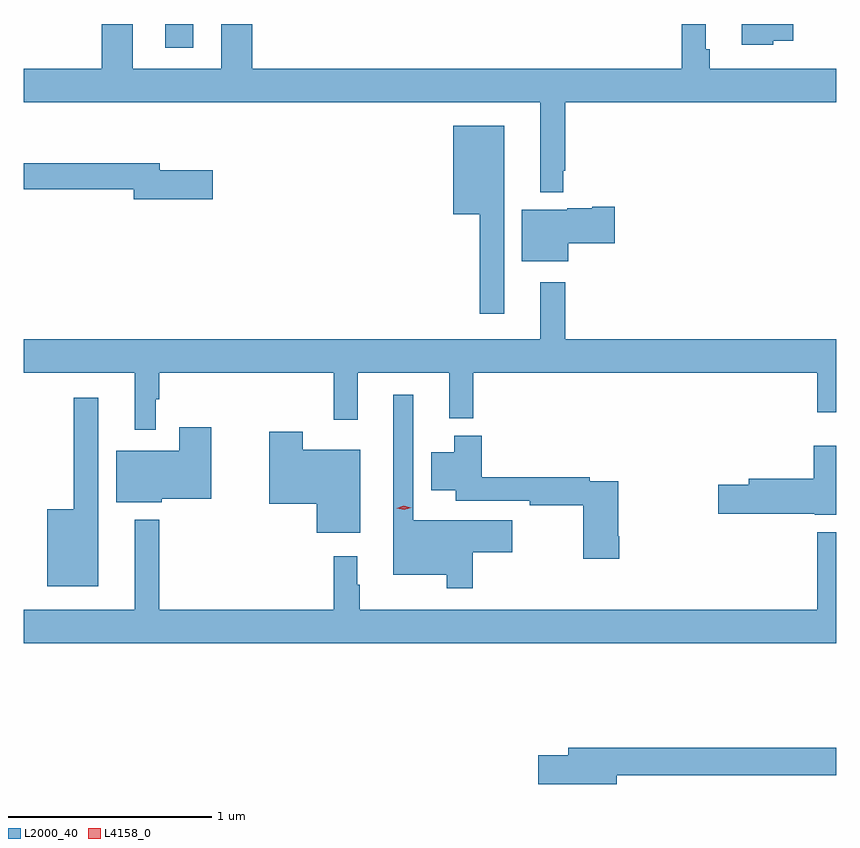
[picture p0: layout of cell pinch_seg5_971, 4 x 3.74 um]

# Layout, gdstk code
import gdstk
lib = gdstk.Library(unit=1e-6, precision=1e-09)
def R(c, l, rs):  # rectangles x0, y0, x1, y1
    for r in rs: c.add(gdstk.rectangle(r[:2], r[2:], *l))
def P(c, l, *ps):  # polygons
    for p in ps: c.add(gdstk.Polygon(p, *l))
L2000_40 = (2000, 40)
L4158_0 = (4158, 0)

pinch_seg5_971 = lib.new_cell('pinch_seg5_971')
R(pinch_seg5_971, L2000_40, [(742.697,882.336,742.837,882.453)])
P(pinch_seg5_971, L2000_40, [(744.659,881.731),(744.667,881.731),(744.667,882.068),(746.002,882.068),(746.002,882.232),(745.379,882.232),(745.379,882.328),(745.36,882.328),(745.36,882.453),(745.243,882.453),(745.243,882.232),(743.126,882.232),(743.126,882.453),(742.973,882.453),(742.973,882.232),(742.537,882.232),(742.537,882.453),(742.385,882.453),(742.385,882.232),(742.002,882.232),(742.002,882.068),(744.545,882.068),(744.545,881.624),(744.659,881.624)],
  [(745.692,882.371),(745.792,882.371),(745.792,882.453),(745.538,882.453),(745.538,882.35),(745.692,882.35)],
  [(744.367,881.953),(744.116,881.953),(744.116,881.516),(744.246,881.516),(744.246,881.025),(744.367,881.025)],
  [(742.933,881.733),(742.672,881.733),(742.672,881.767),(742.002,881.767),(742.002,881.638),(742.544,881.638),(742.544,881.591),(742.933,881.591)],
  [(744.682,881.374),(744.913,881.374),(744.913,881.552),(744.8,881.552),(744.8,881.545),(744.678,881.545),(744.678,881.539),(744.455,881.539),(744.455,881.285),(744.682,881.285)],
  [(742.651,880.604),(742.669,880.604),(742.669,880.736),(743.527,880.736),(743.527,880.503),(743.645,880.503),(743.645,880.736),(744.098,880.736),(744.098,880.511),(744.215,880.511),(744.215,880.736),(745.91,880.736),(745.91,880.542),(746.002,880.542),(746.002,880.9),(744.667,880.9),(744.667,881.182),(744.545,881.182),(744.545,880.9),(742.002,880.9),(742.002,880.736),(742.547,880.736),(742.547,880.455),(742.651,880.455)],
  [(744.212,879.851),(744.406,879.851),(744.406,880.009),(743.919,880.009),(743.919,880.627),(743.822,880.627),(743.822,879.74),(744.084,879.74),(744.084,879.675),(744.212,879.675)],
  [(742.369,880.612),(742.248,880.612),(742.248,880.063),(742.118,880.063),(742.118,879.683),(742.369,879.683)],
  [(742.68,880.115),(742.924,880.115),(742.924,880.468),(742.766,880.468),(742.766,880.351),(742.457,880.351),(742.457,880.097),(742.68,880.097)],
  [(743.659,880.357),(743.376,880.357),(743.376,880.444),(743.21,880.444),(743.21,880.091),(743.444,880.091),(743.444,879.947),(743.659,879.947)],
  [(744.935,879.931),(744.93,879.931),(744.93,880.2),(744.788,880.2),(744.788,880.22),(744.257,880.22),(744.257,880.426),(744.122,880.426),(744.122,880.345),(744.008,880.345),(744.008,880.157),(744.128,880.157),(744.128,880.104),(744.493,880.104),(744.493,880.084),(744.757,880.084),(744.757,879.819),(744.935,879.819)],
  [(746.002,880.375),(745.892,880.375),(745.892,880.214),(745.571,880.214),(745.571,880.184),(745.422,880.184),(745.422,880.042),(745.896,880.042),(745.896,880.037),(746.002,880.037)],
  [(746.002,879.949),(745.91,879.949),(745.91,879.568),(743.656,879.568),(743.656,879.692),(743.644,879.692),(743.644,879.832),(743.527,879.832),(743.527,879.568),(742.669,879.568),(742.669,880.012),(742.547,880.012),(742.547,879.568),(742.002,879.568),(742.002,879.404),(746.002,879.404)],
  [(744.922,878.752),(746.002,878.752),(746.002,878.888),(744.683,878.888),(744.683,878.852),(744.534,878.852),(744.534,878.71),(744.922,878.71)])
P(pinch_seg5_971, L4158_0, [(743.874,880.06),(743.838,880.068),(743.838,880.069),(743.838,880.069),(743.873,880.08),(743.909,880.071),(743.909,880.071),(743.909,880.071)])

lib.write_gds('pinch_seg5_971.gds')
